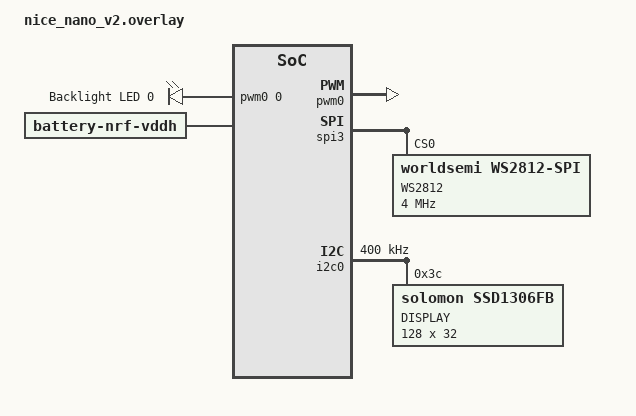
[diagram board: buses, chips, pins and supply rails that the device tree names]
#include "nice_nano_v2-pinctrl.dtsi"

&pwm0 {
    status = "okay";
    pinctrl-0 = <&pwm0_default>;
    pinctrl-1 = <&pwm0_sleep>;
    pinctrl-names = "default", "sleep";
};

&spi3 {
    compatible = "nordic,nrf-spim";
    status = "okay";
    pinctrl-0 = <&spi3_default>;
    pinctrl-1 = <&spi3_sleep>;
    pinctrl-names = "default", "sleep";

    led_strip: ws2812@0 {
        compatible = "worldsemi,ws2812-spi";
        label = "WS2812";

        /* SPI */
        reg = <0>;
        spi-max-frequency = <4000000>;

        /* WS2812 */
        chain-length = <27>;
        spi-one-frame = <0x70>;
        spi-zero-frame = <0x40>;
        color-mapping = <LED_COLOR_ID_GREEN LED_COLOR_ID_RED LED_COLOR_ID_BLUE>;
    };
};

&i2c0 {
    compatible = "nordic,nrf-twim";
    status = "okay";
    pinctrl-0 = <&i2c0_default>;
    pinctrl-1 = <&i2c0_sleep>;
    pinctrl-names = "default", "sleep";
    clock-frequency = <400000>;

    oled: ssd1306@3c {
        compatible = "solomon,ssd1306fb";
        reg = <0x3c>;
        label = "DISPLAY";
        width = <128>;
        height = <32>;
        segment-offset = <0>;
        page-offset = <0>;
        display-offset = <0>;
        multiplex-ratio = <31>;
        segment-remap;
        com-invdir;
        com-sequential;
        prechargep = <0x22>;
        contrast = <128>;
    };
};

/ {
    chosen {
        zmk,underglow = &led_strip;
        zmk,battery = &vbatt;
        zmk,display = &oled;
        zmk,backlight = &backlight;
        zephyr,console = &cdc_acm_uart;
    };

    backlight: pwmleds {
        compatible = "pwm-leds";
        pwm_led_0 {
            pwms = <&pwm0 0 PWM_MSEC(10) PWM_POLARITY_NORMAL>;
            label = "Backlight LED 0";
        };
    };

    vbatt: vbatt {
        compatible = "zmk,battery-nrf-vddh";
        label = "BATTERY";
    };
};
